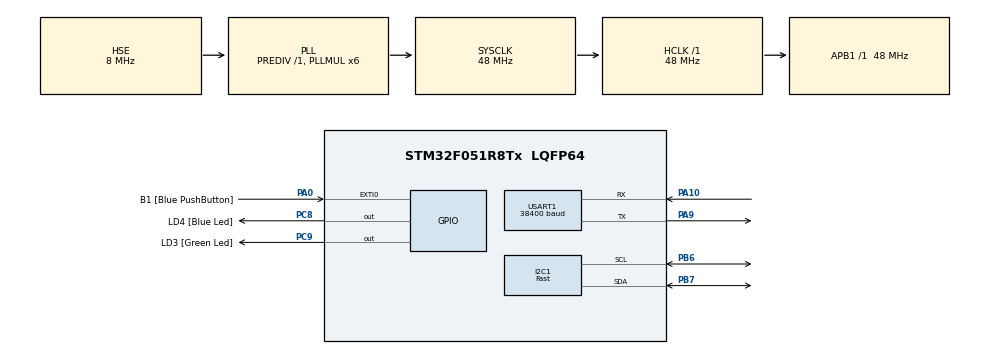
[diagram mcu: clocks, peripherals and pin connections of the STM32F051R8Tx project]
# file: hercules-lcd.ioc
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Dma.Request0=USART1_RX
Dma.Request1=USART1_TX
Dma.USART1_RX.0.Direction=DMA_PERIPH_TO_MEMORY
Dma.USART1_RX.0.Instance=DMA1_Channel3
Dma.USART1_RX.0.MemDataAlignment=DMA_MDATAALIGN_BYTE
Dma.USART1_RX.0.MemInc=DMA_MINC_ENABLE
Dma.USART1_RX.0.Mode=DMA_NORMAL
Dma.USART1_RX.0.PeriphDataAlignment=DMA_PDATAALIGN_BYTE
Dma.USART1_RX.0.PeriphInc=DMA_PINC_DISABLE
Dma.USART1_RX.0.Priority=DMA_PRIORITY_MEDIUM
Dma.USART1_TX.1.Direction=DMA_MEMORY_TO_PERIPH
Dma.USART1_TX.1.Instance=DMA1_Channel2
Dma.USART1_TX.1.MemDataAlignment=DMA_MDATAALIGN_BYTE
Dma.USART1_TX.1.MemInc=DMA_MINC_ENABLE
Dma.USART1_TX.1.Mode=DMA_NORMAL
Dma.USART1_TX.1.PeriphDataAlignment=DMA_PDATAALIGN_BYTE
Dma.USART1_TX.1.PeriphInc=DMA_PINC_DISABLE
Dma.USART1_TX.1.Priority=DMA_PRIORITY_MEDIUM
I2C1.I2C_Speed_Mode=I2C_Fast
I2C1.Timing=0x0000020B
Mcu.Family=STM32F0
Mcu.Name=STM32F051R8Tx
Mcu.Package=LQFP64
NVIC.DMA1_Channel2_3_IRQn=true\:0\:0\:false\:false\:true\:false\:true\:true
NVIC.USART1_IRQn=true\:0\:0\:false\:false\:true\:true\:true\:true
PA0.GPIO_Label=B1 [Blue PushButton]
PA0.GPIO_ModeDefaultEXTI=GPIO_MODE_EVT_RISING
PA0.Signal=GPXTI0
PA10.Mode=Asynchronous
PA10.Signal=USART1_RX
PA13.GPIO_Label=SWDIO
PA13.Mode=Serial_Wire
PA13.Signal=SYS_SWDIO
PA14.GPIO_Label=SWCLK
PA14.Mode=Serial_Wire
PA14.Signal=SYS_SWCLK
PA9.Mode=Asynchronous
PA9.Signal=USART1_TX
PB6.GPIO_Pu=GPIO_PULLUP
PB6.Mode=I2C
PB6.Signal=I2C1_SCL
PB7.GPIO_Pu=GPIO_PULLUP
PB7.Mode=I2C
PB7.Signal=I2C1_SDA
PC8.GPIO_Label=LD4 [Blue Led]
PC8.Signal=GPIO_Output
PC9.GPIO_Label=LD3 [Green Led]
PC9.Signal=GPIO_Output
PF0-OSC_IN.Mode=HSE-External-Oscillator
PF0-OSC_IN.Signal=RCC_OSC_IN
PF1-OSC_OUT.Mode=HSE-External-Oscillator
PF1-OSC_OUT.Signal=RCC_OSC_OUT
ProjectManager.HeapSize=0x200
ProjectManager.StackSize=0x400
ProjectManager.TargetToolchain=STM32CubeIDE
RCC.AHBFreq_Value=48000000
RCC.APB1Freq_Value=48000000
RCC.APB1TimFreq_Value=48000000
RCC.HCLKFreq_Value=48000000
RCC.PLLMUL=RCC_PLL_MUL6
RCC.PLLSourceVirtual=RCC_PLLSOURCE_HSE
RCC.SYSCLKFreq_VALUE=48000000
RCC.SYSCLKSource=RCC_SYSCLKSOURCE_PLLCLK
USART1.BaudRate=38400
USART1.VirtualMode-Asynchronous=VM_ASYNC
board=STM32F0DISCOVERY

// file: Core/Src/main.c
/* USER CODE BEGIN Header */
/**
  ******************************************************************************
  * @file           : main.c
  * @brief          : Main program body
  ******************************************************************************
  * @attention
  *
  * Copyright (c) 2022 STMicroelectronics.
  * All rights reserved.
  *
  * This software is licensed under terms that can be found in the LICENSE file
  * in the root directory of this software component.
  * If no LICENSE file comes with this software, it is provided AS-IS.
  *
  ******************************************************************************
  */
/* USER CODE END Header */
#include "main.h"

/* USER CODE BEGIN Includes */
#include "i2c-lcd.h"
#include "string.h"
#include <string.h>
/* USER CODE END Includes */

I2C_HandleTypeDef hi2c1;

UART_HandleTypeDef huart1;
DMA_HandleTypeDef hdma_usart1_rx;
DMA_HandleTypeDef hdma_usart1_tx;

void SystemClock_Config(void);
static void MX_GPIO_Init(void);
static void MX_DMA_Init(void);
static void MX_I2C1_Init(void);
static void MX_USART1_UART_Init(void);

/* USER CODE BEGIN 0 */
#define BUFFSIZE 20
uint8_t sizeval = 0;
uint8_t Rx_data[BUFFSIZE];
int a = 0;

uint8_t flag=0;

void HAL_UARTEx_RxEventCallback(UART_HandleTypeDef *huart, uint16_t Size)//hat boşa cıktığında olması girecek fonksiyon
{
	if (huart->Instance == USART1)
	{
		HAL_UARTEx_ReceiveToIdle_DMA(&huart1, Rx_data, BUFFSIZE);
		__HAL_DMA_DISABLE_IT(&hdma_usart1_rx, DMA_IT_HT); // trasferin yarısındayken trasferi kesmeemeesi için kullanılan fonksiyondur.
		sizeval = Size;
		for (int i = sizeval; i < BUFFSIZE; i++)
		{
			Rx_data[i] = 0;
		}
		flag = 1; //haberleşmenin bittiği ve gösteren flag
	}
}

void print_lcd(){

	lcd_clear();
	lcd_put_cur(0, 0);
	lcd_send_string(Rx_data);
	HAL_Delay(500);

/*	for ( int i = 0; i < 2; i++) {
		for (int j = 0; j < 16; j++) {
			lcd_put_cur(i, j);
			lcd_send_string(Rx_data[j]);
			HAL_Delay(100);
		}
	}
*/
}

/* USER CODE END 0 */

int main(void)
{

  /* MCU Configuration--------------------------------------------------------*/

  /* Reset of all peripherals, Initializes the Flash interface and the Systick. */
  HAL_Init();

  /* Configure the system clock */
  SystemClock_Config();

  /* Initialize all configured peripherals */
  MX_GPIO_Init();
  MX_DMA_Init();
  MX_I2C1_Init();
  MX_USART1_UART_Init();
  lcd_init();

  /* Infinite loop */
  /* USER CODE BEGIN WHILE */
  while (1)
  {

	  HAL_UARTEx_ReceiveToIdle_DMA(&huart1, Rx_data, BUFFSIZE);
	   __HAL_DMA_DISABLE_IT(&hdma_usart1_rx, DMA_IT_HT); // trasferin yarısındayken trasferi kesmeemeesi için kullanılan fonksiyondur.

	/*  lcd_init();
	  HAL_UART_Receive_IT(&huart1, Rx_data, sizeof(Rx_data));
	  HAL_Delay(250);
	  write_lcd();*/
	  if(flag == 1)
	  {
		  flag = 0;
		  print_lcd();

	  }
	  HAL_Delay(500);

    /* USER CODE END WHILE */

  }
}

void SystemClock_Config(void)
{
  RCC_OscInitTypeDef RCC_OscInitStruct = {0};
  RCC_ClkInitTypeDef RCC_ClkInitStruct = {0};
  RCC_PeriphCLKInitTypeDef PeriphClkInit = {0};

  /** Initializes the RCC Oscillators according to the specified parameters
  * in the RCC_OscInitTypeDef structure.
  */
  RCC_OscInitStruct.OscillatorType = RCC_OSCILLATORTYPE_HSI|RCC_OSCILLATORTYPE_HSE;
  RCC_OscInitStruct.HSEState = RCC_HSE_ON;
  RCC_OscInitStruct.HSIState = RCC_HSI_ON;
  RCC_OscInitStruct.HSICalibrationValue = RCC_HSICALIBRATION_DEFAULT;
  RCC_OscInitStruct.PLL.PLLState = RCC_PLL_ON;
  RCC_OscInitStruct.PLL.PLLSource = RCC_PLLSOURCE_HSE;
  RCC_OscInitStruct.PLL.PLLMUL = RCC_PLL_MUL6;
  RCC_OscInitStruct.PLL.PREDIV = RCC_PREDIV_DIV1;
  if (HAL_RCC_OscConfig(&RCC_OscInitStruct) != HAL_OK)
  {
    Error_Handler();
  }

  /** Initializes the CPU, AHB and APB buses clocks
  */
  RCC_ClkInitStruct.ClockType = RCC_CLOCKTYPE_HCLK|RCC_CLOCKTYPE_SYSCLK
                              |RCC_CLOCKTYPE_PCLK1;
  RCC_ClkInitStruct.SYSCLKSource = RCC_SYSCLKSOURCE_PLLCLK;
  RCC_ClkInitStruct.AHBCLKDivider = RCC_SYSCLK_DIV1;
  RCC_ClkInitStruct.APB1CLKDivider = RCC_HCLK_DIV1;

  if (HAL_RCC_ClockConfig(&RCC_ClkInitStruct, FLASH_LATENCY_1) != HAL_OK)
  {
    Error_Handler();
  }
  PeriphClkInit.PeriphClockSelection = RCC_PERIPHCLK_USART1|RCC_PERIPHCLK_I2C1;
  PeriphClkInit.Usart1ClockSelection = RCC_USART1CLKSOURCE_PCLK1;
  PeriphClkInit.I2c1ClockSelection = RCC_I2C1CLKSOURCE_HSI;
  if (HAL_RCCEx_PeriphCLKConfig(&PeriphClkInit) != HAL_OK)
  {
    Error_Handler();
  }
}

static void MX_I2C1_Init(void)
{

  hi2c1.Instance = I2C1;
  hi2c1.Init.Timing = 0x0000020B;
  hi2c1.Init.OwnAddress1 = 0;
  hi2c1.Init.AddressingMode = I2C_ADDRESSINGMODE_7BIT;
  hi2c1.Init.DualAddressMode = I2C_DUALADDRESS_DISABLE;
  hi2c1.Init.OwnAddress2 = 0;
  hi2c1.Init.OwnAddress2Masks = I2C_OA2_NOMASK;
  hi2c1.Init.GeneralCallMode = I2C_GENERALCALL_DISABLE;
  hi2c1.Init.NoStretchMode = I2C_NOSTRETCH_DISABLE;
  if (HAL_I2C_Init(&hi2c1) != HAL_OK)
  {
    Error_Handler();
  }

  /** Configure Analogue filter
  */
  if (HAL_I2CEx_ConfigAnalogFilter(&hi2c1, I2C_ANALOGFILTER_ENABLE) != HAL_OK)
  {
    Error_Handler();
  }

  /** Configure Digital filter
  */
  if (HAL_I2CEx_ConfigDigitalFilter(&hi2c1, 0) != HAL_OK)
  {
    Error_Handler();
  }

}

static void MX_USART1_UART_Init(void)
{

  huart1.Instance = USART1;
  huart1.Init.BaudRate = 38400;
  huart1.Init.WordLength = UART_WORDLENGTH_8B;
  huart1.Init.StopBits = UART_STOPBITS_1;
  huart1.Init.Parity = UART_PARITY_NONE;
  huart1.Init.Mode = UART_MODE_TX_RX;
  huart1.Init.HwFlowCtl = UART_HWCONTROL_NONE;
  huart1.Init.OverSampling = UART_OVERSAMPLING_16;
  huart1.Init.OneBitSampling = UART_ONE_BIT_SAMPLE_DISABLE;
  huart1.AdvancedInit.AdvFeatureInit = UART_ADVFEATURE_NO_INIT;
  if (HAL_UART_Init(&huart1) != HAL_OK)
  {
    Error_Handler();
  }

}

static void MX_DMA_Init(void)
{

  /* DMA controller clock enable */
  __HAL_RCC_DMA1_CLK_ENABLE();

  /* DMA interrupt init */
  /* DMA1_Channel2_3_IRQn interrupt configuration */
  HAL_NVIC_SetPriority(DMA1_Channel2_3_IRQn, 0, 0);
  HAL_NVIC_EnableIRQ(DMA1_Channel2_3_IRQn);

}

static void MX_GPIO_Init(void)
{
  GPIO_InitTypeDef GPIO_InitStruct = {0};

  /* GPIO Ports Clock Enable */
  __HAL_RCC_GPIOF_CLK_ENABLE();
  __HAL_RCC_GPIOA_CLK_ENABLE();
  __HAL_RCC_GPIOC_CLK_ENABLE();
  __HAL_RCC_GPIOB_CLK_ENABLE();

  /*Configure GPIO pin Output Level */
  HAL_GPIO_WritePin(GPIOC, LD4_Pin|LD3_Pin, GPIO_PIN_RESET);

  /*Configure GPIO pin : B1_Pin */
  GPIO_InitStruct.Pin = B1_Pin;
  GPIO_InitStruct.Mode = GPIO_MODE_EVT_RISING;
  GPIO_InitStruct.Pull = GPIO_NOPULL;
  HAL_GPIO_Init(B1_GPIO_Port, &GPIO_InitStruct);

  /*Configure GPIO pins : LD4_Pin LD3_Pin */
  GPIO_InitStruct.Pin = LD4_Pin|LD3_Pin;
  GPIO_InitStruct.Mode = GPIO_MODE_OUTPUT_PP;
  GPIO_InitStruct.Pull = GPIO_NOPULL;
  GPIO_InitStruct.Speed = GPIO_SPEED_FREQ_LOW;
  HAL_GPIO_Init(GPIOC, &GPIO_InitStruct);

}

void Error_Handler(void)
{
  __disable_irq();
  while (1)
  {
  }
}
